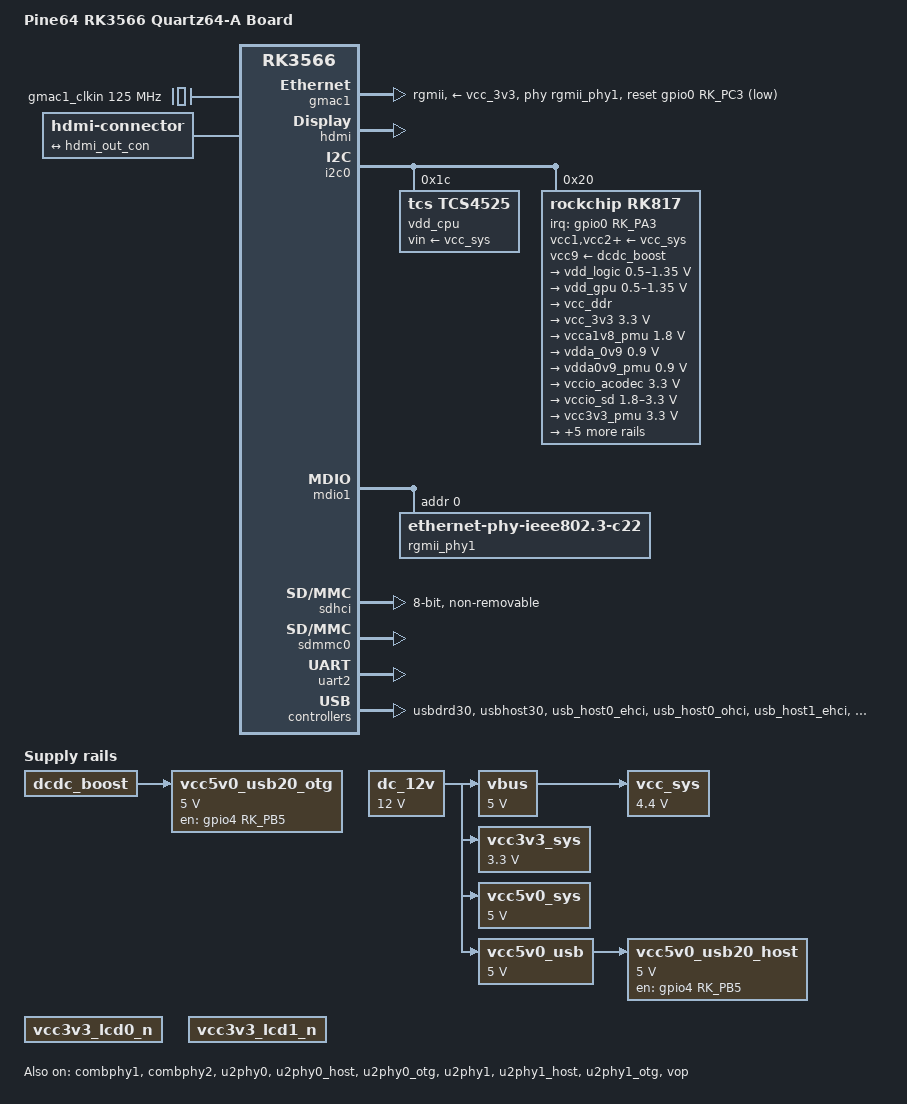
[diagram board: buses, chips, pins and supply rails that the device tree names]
// SPDX-License-Identifier: (GPL-2.0+ OR MIT)

/dts-v1/;

#include <dt-bindings/gpio/gpio.h>
#include <dt-bindings/pinctrl/rockchip.h>
#include <dt-bindings/soc/rockchip,vop2.h>
#include "rk3566.dtsi"

/ {
	model = "Pine64 RK3566 Quartz64-A Board";
	compatible = "pine64,quartz64-a", "rockchip,rk3566";

	aliases {
		ethernet0 = &gmac1;
		mmc0 = &sdmmc0;
		mmc1 = &sdhci;
	};

	chosen: chosen {
		stdout-path = "serial2:1500000n8";
	};

	gmac1_clkin: external-gmac1-clock {
		compatible = "fixed-clock";
		clock-frequency = <125000000>;
		clock-output-names = "gmac1_clkin";
		#clock-cells = <0>;
	};

	hdmi-con {
		compatible = "hdmi-connector";
		type = "c";

		port {
			hdmi_con_in: endpoint {
				remote-endpoint = <&hdmi_out_con>;
			};
		};
	};

	dc_12v: dc-12v {
		compatible = "regulator-fixed";
		regulator-name = "dc_12v";
		regulator-always-on;
		regulator-boot-on;
		regulator-min-microvolt = <12000000>;
		regulator-max-microvolt = <12000000>;
	};

	vbus: vbus {
		compatible = "regulator-fixed";
		regulator-name = "vbus";
		regulator-always-on;
		regulator-boot-on;
		regulator-min-microvolt = <5000000>;
		regulator-max-microvolt = <5000000>;
		vin-supply = <&dc_12v>;
	};

	vcc3v3_sys: vcc3v3-sys {
		compatible = "regulator-fixed";
		regulator-name = "vcc3v3_sys";
		regulator-always-on;
		regulator-boot-on;
		regulator-min-microvolt = <3300000>;
		regulator-max-microvolt = <3300000>;
		vin-supply = <&dc_12v>;
	};

	vcc5v0_sys: vcc5v0-sys {
		compatible = "regulator-fixed";
		regulator-name = "vcc5v0_sys";
		regulator-always-on;
		regulator-boot-on;
		regulator-min-microvolt = <5000000>;
		regulator-max-microvolt = <5000000>;
		vin-supply = <&dc_12v>;
	};

	vcc5v0_usb: vcc5v0_usb {
		compatible = "regulator-fixed";
		regulator-name = "vcc5v0_usb";
		regulator-always-on;
		regulator-boot-on;
		regulator-min-microvolt = <5000000>;
		regulator-max-microvolt = <5000000>;
		vin-supply = <&dc_12v>;
	};

	vcc5v0_usb20_host: vcc5v0_usb20_host {
		compatible = "regulator-fixed";
		regulator-name = "vcc5v0_usb20_host";
		enable-active-high;
		gpio = <&gpio4 RK_PB5 GPIO_ACTIVE_HIGH>;
		pinctrl-names = "default";
		pinctrl-0 = <&vcc5v0_usb20_host_en>;
		regulator-min-microvolt = <5000000>;
		regulator-max-microvolt = <5000000>;
		vin-supply = <&vcc5v0_usb>;
	};

	vcc5v0_usb20_otg: vcc5v0_usb20_otg {
		compatible = "regulator-fixed";
		regulator-name = "vcc5v0_usb20_otg";
		enable-active-high;
		gpio = <&gpio4 RK_PB5 GPIO_ACTIVE_HIGH>;
		regulator-min-microvolt = <5000000>;
		regulator-max-microvolt = <5000000>;
		vin-supply = <&dcdc_boost>;
	};

	vcc_sys: vcc_sys {
		compatible = "regulator-fixed";
		regulator-name = "vcc_sys";
		regulator-always-on;
		regulator-boot-on;
		regulator-min-microvolt = <4400000>;
		regulator-max-microvolt = <4400000>;
		vin-supply = <&vbus>;
	};

	vcc3v3_lcd0_n: vcc3v3-lcd0-n {
		compatible = "regulator-fixed";
		regulator-name = "vcc3v3_lcd0_n";
		regulator-boot-on;

		regulator-state-mem {
			regulator-off-in-suspend;
		};
	};

	vcc3v3_lcd1_n: vcc3v3-lcd1-n {
		compatible = "regulator-fixed";
		regulator-name = "vcc3v3_lcd1_n";
		regulator-boot-on;

		regulator-state-mem {
			regulator-off-in-suspend;
		};
	};
};

&combphy1 {
	status = "okay";
	rockchip,enable-ssc;
};

&combphy2 {
	status = "okay";
};

&gmac1 {
	assigned-clocks = <&cru SCLK_GMAC1_RX_TX>, <&cru SCLK_GMAC1_RGMII_SPEED>, <&cru SCLK_GMAC1>;
	assigned-clock-parents = <&cru SCLK_GMAC1_RGMII_SPEED>, <&cru SCLK_GMAC1>, <&gmac1_clkin>;
	clock_in_out = "input";
	phy-supply = <&vcc_3v3>;
	phy-mode = "rgmii";
	pinctrl-names = "default";
	pinctrl-0 = <&gmac1m0_miim
		     &gmac1m0_tx_bus2
		     &gmac1m0_rx_bus2
		     &gmac1m0_rgmii_clk
		     &gmac1m0_clkinout
		     &gmac1m0_rgmii_bus>;
	snps,reset-gpio = <&gpio0 RK_PC3 GPIO_ACTIVE_LOW>;
	snps,reset-active-low;
	/* Reset time is 20ms, 100ms for rtl8211f */
	snps,reset-delays-us = <0 20000 100000>;
	tx_delay = <0x30>;
	rx_delay = <0x10>;
	phy-handle = <&rgmii_phy1>;
	status = "okay";
};


&hdmi {
	avdd-0v9-supply = <&vdda_0v9>;
	avdd-1v8-supply = <&vcc_1v8>;
	status = "okay";
};

&hdmi_in {
	hdmi_in_vp0: endpoint@0 {
		reg = <0>;
		remote-endpoint = <&vp0_out_hdmi>;
	};
};

&hdmi_out {
	hdmi_out_con: endpoint {
		remote-endpoint = <&hdmi_con_in>;
	};
};

&i2c0 {
	status = "okay";

	vdd_cpu: regulator@1c {
		compatible = "tcs,tcs4525";
		reg = <0x1c>;
		fcs,suspend-voltage-selector = <1>;
		regulator-name = "vdd_cpu";
		regulator-min-microvolt = <800000>;
		regulator-max-microvolt = <1150000>;
		regulator-ramp-delay = <2300>;
		regulator-always-on;
		regulator-boot-on;
		vin-supply = <&vcc_sys>;

		regulator-state-mem {
			regulator-off-in-suspend;
			regulator-suspend-microvolt = <900000>;
		};
	};

	rk817: pmic@20 {
		compatible = "rockchip,rk817";
		reg = <0x20>;
		interrupt-parent = <&gpio0>;
		interrupts = <RK_PA3 IRQ_TYPE_LEVEL_LOW>;
		assigned-clocks = <&cru I2S1_MCLKOUT_TX>;
		assigned-clock-parents = <&cru CLK_I2S1_8CH_TX>;
		clock-names = "mclk";
		clocks = <&cru I2S1_MCLKOUT_TX>;
		clock-output-names = "rk808-clkout1", "rk808-clkout2";
		#clock-cells = <1>;
		pinctrl-names = "default";
		pinctrl-0 = <&pmic_int_l>, <&i2s1m0_mclk>;
		rockchip,system-power-controller;
		#sound-dai-cells = <0>;
		wakeup-source;

		vcc1-supply = <&vcc_sys>;
		vcc2-supply = <&vcc_sys>;
		vcc3-supply = <&vcc_sys>;
		vcc4-supply = <&vcc_sys>;
		vcc5-supply = <&vcc_sys>;
		vcc6-supply = <&vcc_sys>;
		vcc7-supply = <&vcc_sys>;
		vcc8-supply = <&vcc_sys>;
		vcc9-supply = <&dcdc_boost>;

		regulators {
			vdd_logic: DCDC_REG1 {
				regulator-always-on;
				regulator-boot-on;
				regulator-min-microvolt = <500000>;
				regulator-max-microvolt = <1350000>;
				regulator-init-microvolt = <900000>;
				regulator-ramp-delay = <6001>;
				regulator-initial-mode = <0x2>;
				regulator-name = "vdd_logic";
				regulator-state-mem {
					regulator-on-in-suspend;
					regulator-suspend-microvolt = <900000>;
				};
			};

			vdd_gpu: DCDC_REG2 {
				regulator-always-on;
				regulator-boot-on;
				regulator-min-microvolt = <500000>;
				regulator-max-microvolt = <1350000>;
				regulator-init-microvolt = <900000>;
				regulator-ramp-delay = <6001>;
				regulator-initial-mode = <0x2>;
				regulator-name = "vdd_gpu";
					regulator-state-mem {
					regulator-off-in-suspend;
				};
			};

			vcc_ddr: DCDC_REG3 {
				regulator-always-on;
				regulator-boot-on;
				regulator-initial-mode = <0x2>;
				regulator-name = "vcc_ddr";
				regulator-state-mem {
					regulator-on-in-suspend;
				};
			};

			vcc_3v3: DCDC_REG4 {
				regulator-always-on;
				regulator-boot-on;
				regulator-min-microvolt = <3300000>;
				regulator-max-microvolt = <3300000>;
				regulator-initial-mode = <0x2>;
				regulator-name = "vcc_3v3";
				regulator-state-mem {
					regulator-off-in-suspend;
				};
			};

			vcca1v8_pmu: LDO_REG1 {
				regulator-always-on;
				regulator-boot-on;
				regulator-min-microvolt = <1800000>;
				regulator-max-microvolt = <1800000>;
				regulator-name = "vcca1v8_pmu";
				regulator-state-mem {
					regulator-on-in-suspend;
					regulator-suspend-microvolt = <1800000>;
				};
			};

			vdda_0v9: LDO_REG2 {
				regulator-always-on;
				regulator-boot-on;
				regulator-min-microvolt = <900000>;
				regulator-max-microvolt = <900000>;
				regulator-name = "vdda_0v9";
				regulator-state-mem {
					regulator-off-in-suspend;
				};
			};

			vdda0v9_pmu: LDO_REG3 {
				regulator-always-on;
				regulator-boot-on;
				regulator-min-microvolt = <900000>;
				regulator-max-microvolt = <900000>;
				regulator-name = "vdda0v9_pmu";
				regulator-state-mem {
					regulator-on-in-suspend;
					regulator-suspend-microvolt = <900000>;
				};
			};

			vccio_acodec: LDO_REG4 {
				regulator-always-on;
				regulator-boot-on;
				regulator-min-microvolt = <3300000>;
				regulator-max-microvolt = <3300000>;
				regulator-name = "vccio_acodec";
				regulator-state-mem {
					regulator-off-in-suspend;
				};
			};

			vccio_sd: LDO_REG5 {
				regulator-always-on;
				regulator-boot-on;
				regulator-min-microvolt = <1800000>;
				regulator-max-microvolt = <3300000>;
				regulator-name = "vccio_sd";
				regulator-state-mem {
					regulator-off-in-suspend;
				};
			};

			vcc3v3_pmu: LDO_REG6 {
				regulator-always-on;
				regulator-boot-on;
				regulator-min-microvolt = <3300000>;
				regulator-max-microvolt = <3300000>;
				regulator-name = "vcc3v3_pmu";
				regulator-state-mem {
					regulator-on-in-suspend;
					regulator-suspend-microvolt = <3300000>;
				};
			};

			vcc_1v8: LDO_REG7 {
				regulator-always-on;
				regulator-boot-on;
				regulator-min-microvolt = <1800000>;
				regulator-max-microvolt = <1800000>;
				regulator-name = "vcc_1v8";
				regulator-state-mem {
					regulator-off-in-suspend;
				};
			};

			vcc1v8_dvp: LDO_REG8 {
				regulator-always-on;
				regulator-boot-on;
				regulator-min-microvolt = <1800000>;
				regulator-max-microvolt = <1800000>;
				regulator-name = "vcc1v8_dvp";
				regulator-state-mem {
					regulator-off-in-suspend;
				};
			};

			vcc2v8_dvp: LDO_REG9 {
				regulator-always-on;
				regulator-boot-on;
				regulator-min-microvolt = <2800000>;
				regulator-max-microvolt = <2800000>;
				regulator-name = "vcc2v8_dvp";
				regulator-state-mem {
					regulator-off-in-suspend;
				};
			};

			dcdc_boost: BOOST {
				regulator-always-on;
				regulator-boot-on;
				regulator-min-microvolt = <5000000>;
				regulator-max-microvolt = <5000000>;
				regulator-name = "boost";
				regulator-state-mem {
					regulator-off-in-suspend;
				};
			};

			otg_switch: OTG_SWITCH {
				regulator-name = "otg_switch";
				regulator-state-mem {
					regulator-off-in-suspend;
				};
			};
		};
	};
};

&pmu_io_domains {
	status = "okay";
	pmuio1-supply = <&vcc3v3_pmu>;
	pmuio2-supply = <&vcc3v3_pmu>;
	vccio1-supply = <&vccio_acodec>;
	vccio2-supply = <&vcc_1v8>;
	vccio3-supply = <&vccio_sd>;
	vccio4-supply = <&vcc_1v8>;
	vccio5-supply = <&vcc_3v3>;
	vccio6-supply = <&vcc1v8_dvp>;
	vccio7-supply = <&vcc_3v3>;
};

&mdio1 {
	rgmii_phy1: ethernet-phy@0 {
		compatible = "ethernet-phy-ieee802.3-c22";
		reg = <0>;
	};
};

&pinctrl {
	pmic {
		pmic_int_l: pmic-int-l {
			rockchip,pins = <0 RK_PA3 RK_FUNC_GPIO &pcfg_pull_up>;
		};

		hp_det_h: hp-det-h {
			rockchip,pins = <0 RK_PC4 RK_FUNC_GPIO &pcfg_pull_none>;
		};
	};

	usb2 {
		vcc5v0_usb20_host_en: vcc5v0-usb20-host-en {
			rockchip,pins = <4 RK_PB5 RK_FUNC_GPIO &pcfg_pull_none>;
		};
	};
};

&sdhci {
	bus-width = <8>;
	max-frequency = <200000000>;
	non-removable;
	status = "okay";
};

&sdmmc0 {
	status = "okay";
	max-frequency = <52000000>;
};

&uart2 {
	status = "okay";
};

&u2phy0 {
	status = "okay";
};

&u2phy0_host {
	phy-supply = <&vcc5v0_usb20_host>;
	status = "okay";
};

&u2phy0_otg {
	phy-supply = <&vcc5v0_usb20_otg>;
	status = "okay";
};

&u2phy1 {
	status = "okay";
};

&u2phy1_host {
	phy-supply = <&vcc5v0_usb20_host>;
	status = "okay";
};

&u2phy1_otg {
	phy-supply = <&vcc5v0_usb20_host>;
	status = "okay";
};

&usbdrd30 {
	status = "okay";
};

/* usb3 controller is muxed with sata1 */
&usbhost30 {
//	status = "disabled";
	status = "okay";
};

&usb_host0_ehci {
	status = "okay";
};

&usb_host0_ohci {
	status = "okay";
};

&usb_host1_ehci {
	status = "okay";
};

&usb_host1_ohci {
	status = "okay";
};

&vop {
	assigned-clocks = <&cru DCLK_VOP0>, <&cru DCLK_VOP1>;
	assigned-clock-parents = <&pmucru PLL_HPLL>, <&cru PLL_VPLL>;
	status = "okay";
};

&vop_mmu {
	status = "okay";
};

&vp0 {
	vp0_out_hdmi: endpoint@RK3568_VOP2_EP_HDMI {
		reg = <RK3568_VOP2_EP_HDMI>;
		remote-endpoint = <&hdmi_in_vp0>;
	};
};
